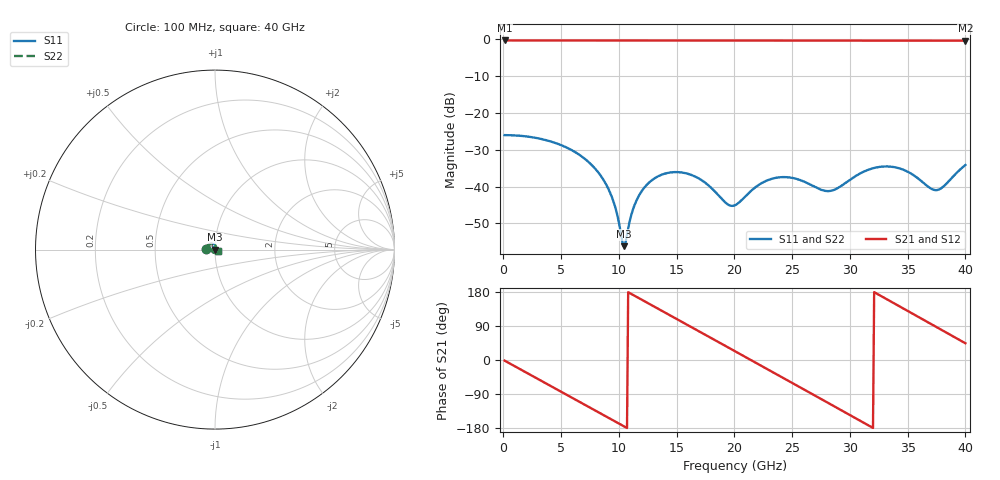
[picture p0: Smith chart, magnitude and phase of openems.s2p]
! thru_s8_L1: 2×thru, L1, 8 mm
! stackup: 8-layer 1.6 mm FR-4 (generic)
! ports: 1, 2
! openEMS 0.37.0, staircase, fine mesh (dfine 0.0175 mm), 676704 cells
# Hz S RI R 50
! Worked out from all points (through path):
!   400 points, 100 MHz to 40 GHz, reference 50 ohm
!   highest |S21| = -0.44 dB at 100 MHz (marker M1); lowest = -0.5 dB at 40 GHz (marker M2)
!   group delay of S21, straight-line fit = 46.9 ps
!   lowest |S11| = -56.1 dB at 10.4 GHz (marker M3), VSWR 1.00, Z = 50.1 - j0.103 ohm
!   |S11| at or under -10 dB: start of sweep to end of sweep
!   |S22| runs from -56.1 to -26.1 dB; largest |S21 - S12| = 0
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1e8  -0.0497 0.00105  0.9497 -0.0278  0.9497 -0.0278  -0.0497 0.00105
1.8e9  -0.0445 0.0181  0.8212 -0.4776  0.8212 -0.4776  -0.0445 0.0181
3.8e9  -0.0283 0.0311  0.4208 -0.8516  0.4208 -0.8516  -0.0283 0.0311
6.8e9  -0.000112 0.0254  -0.3865 -0.8673  -0.3865 -0.8673  -0.000112 0.0254
9.1e9  0.0059 0.00708  -0.8427 -0.4367  -0.8427 -0.4367  0.0059 0.00708
9.8e9  0.00392 0.00217  -0.9138 -0.256  -0.9138 -0.256  0.00392 0.00217
1.04e10  0.00118 -0.00103  -0.9444 -0.0922  -0.9444 -0.0922  0.00118 -0.00103
1.16e10  -0.00577 -0.00375  -0.9182 0.2387  -0.9182 0.2387  -0.00577 -0.00375
1.34e10  -0.0138 0.00105  -0.6729 0.6685  -0.6729 0.6685  -0.0138 0.00105
1.5e10  -0.0129 0.00902  -0.2974 0.9006  -0.2974 0.9006  -0.0129 0.00902
1.66e10  -0.00496 0.0127  0.1428 0.9375  0.1428 0.9375  -0.00496 0.0127
1.82e10  0.00344 0.00824  0.5522 0.7706  0.5522 0.7706  0.00344 0.00824
2.01e10  0.00464 -0.0032  0.8765 0.3601  0.8765 0.3601  0.00464 -0.0032
2.31e10  -0.0105 -0.00692  0.8335 -0.4492  0.8335 -0.4492  -0.0105 -0.00692
2.5e10  -0.0126 0.00348  0.4668 -0.8235  0.4668 -0.8235  -0.0126 0.00348
2.67e10  -0.00384 0.00966  0.0124 -0.9463  0.0124 -0.9463  -0.00384 0.00966
2.84e10  0.00732 0.00486  -0.4454 -0.8347  -0.4454 -0.8347  0.00732 0.00486
3.04e10  0.00892 -0.0102  -0.8354 -0.4431  -0.8354 -0.4431  0.00892 -0.0102
3.34e10  -0.0117 -0.0145  -0.869 0.3707  -0.869 0.3707  -0.0117 -0.0145
3.68e10  -0.00506 0.0085  -0.1461 0.9327  -0.1461 0.9327  -0.00506 0.0085
3.78e10  0.00459 0.00804  0.1345 0.9342  0.1345 0.9342  0.00459 0.00804
4e10  0.0166 -0.0103  0.6766 0.6569  0.6766 0.6569  0.0166 -0.0103
